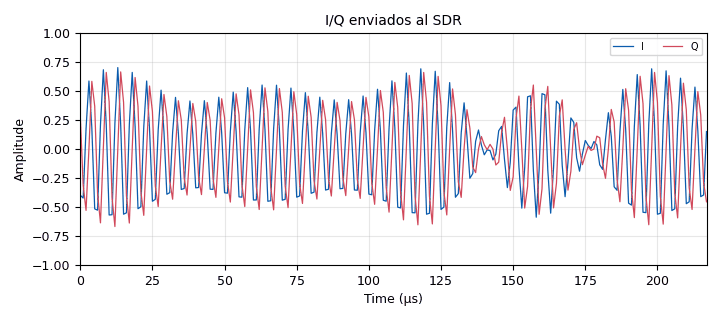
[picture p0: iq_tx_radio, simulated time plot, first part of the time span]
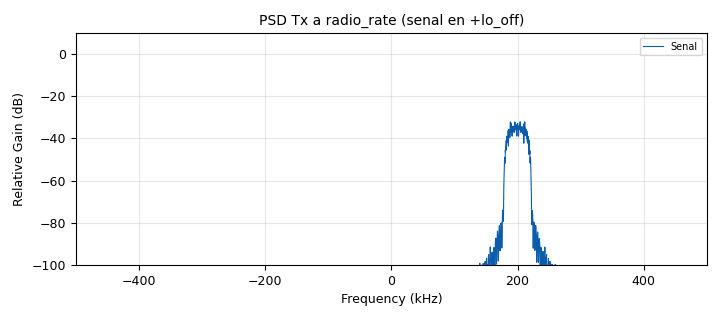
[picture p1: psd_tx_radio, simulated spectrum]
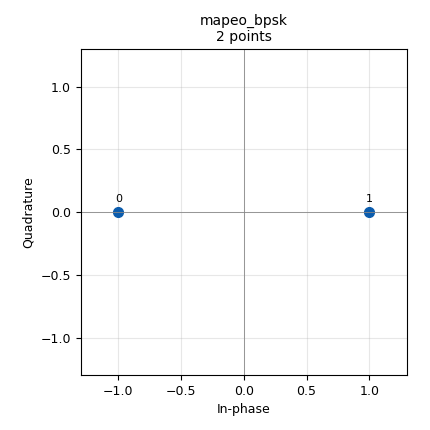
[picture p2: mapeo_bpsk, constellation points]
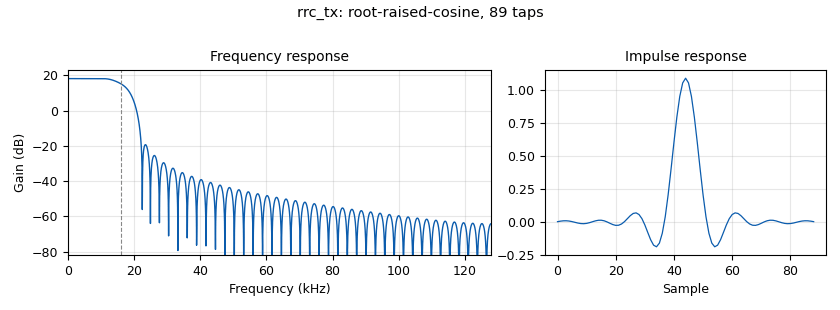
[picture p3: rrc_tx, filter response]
options:
  parameters:
    author: Grupo 1
    description: Transmisor del proyecto conectado a hardware SDR
    generate_options: qt_gui
    id: Fase3_USRP_TX_BPSK_Grupo1
    output_language: python
    title: 'Fase 3 - TX BPSK con USRP (UHD: USRP Sink) - Grupo 1'
  states: {}

blocks:
- name: M
  id: variable
  parameters:
    value: len(tabla_de_verdad_constelacion)
  states: {}
- name: Rb
  id: variable
  parameters:
    value: Rs*bps
  states: {}
- name: Rs
  id: variable
  parameters:
    value: '32000'
  states: {}
- name: Sps
  id: variable
  parameters:
    value: '8'
  states: {}
- name: adapta_tasa
  id: rational_resampler_xxx
  parameters:
    interp: interp
    decim: decim
    type: ccc
  states: {}
- name: beta
  id: variable
  parameters:
    value: '0.35'
  states: {}
- name: bps
  id: variable
  parameters:
    value: int(math.log(M,2))
  states: {}
- name: cod_diferencial
  id: digital_diff_encoder_bb
  parameters:
    modulus: '2'
    coding: digital.DIFF_DIFFERENTIAL
  states: {}
- name: const_bpsk
  id: variable_constellation
  parameters:
    const_points: tabla_de_verdad_constelacion
    dims: '1'
    normalization: digital.constellation.AMPLITUDE_NORMALIZATION
    precision: '8'
    rot_sym: '2'
    sym_map: '[0, 1]'
    type: calcdist
  states: {}
- name: decim
  id: variable
  parameters:
    value: '32'
  states: {}
- name: desplaza_lo
  id: freq_xlating_fir_filter_xxx
  parameters:
    center_freq: '-lo_off'
    decim: '1'
    samp_rate: radio_rate
    taps: '[1]'
    type: ccc
  states: {}
- name: fc
  id: variable
  parameters:
    value: 960e6
  states: {}
- name: fuente_bits
  id: digital_glfsr_source_x
  parameters:
    type: byte
    degree: '15'
    mask: '0'
    repeat: 'True'
    seed: '1'
  states: {}
- name: import_0
  id: import
  parameters:
    imports: import math
  states: {}
- name: interp
  id: variable
  parameters:
    value: '125'
  states: {}
- name: iq_tx_radio
  id: qtgui_time_sink_x
  parameters:
    grid: 'True'
    label1: I
    label2: Q
    name: '"I/Q enviados al SDR"'
    size: '2048'
    srate: radio_rate
    type: complex
  states: {}
- name: lo_off
  id: variable
  parameters:
    value: 200e3
  states: {}
- name: mapeo_bpsk
  id: digital_chunks_to_symbols_xx
  parameters:
    dimension: '1'
    in_type: byte
    out_type: complex
    symbol_table: tabla_de_verdad_constelacion
  states: {}
- name: periodo_imp
  id: variable
  parameters:
    value: '256'
  states: {}
- name: psd_tx_radio
  id: qtgui_freq_sink_x
  parameters:
    average: '0.2'
    bw: radio_rate
    fc: '0'
    fftsize: '4096'
    grid: 'True'
    label1: Senal
    name: '"PSD Tx a radio_rate (senal en +lo_off)"'
    type: complex
    ymin: '-100'
  states: {}
- name: radio_rate
  id: variable
  parameters:
    value: 1e6
  states: {}
- name: rrc_rx_taps
  id: variable
  parameters:
    value: '[t/sum(x*x for x in rrc_tx_taps) for t in rrc_tx_taps]'
  states: {}
- name: rrc_tx
  id: interp_fir_filter_xxx
  parameters:
    interp: Sps
    taps: rrc_tx_taps
    type: ccf
  states: {}
- name: rrc_tx_taps
  id: variable_rrc_filter_taps
  parameters:
    gain: Sps
    samp_rate: samp_rate
    sym_rate: Rs
    alpha: beta
    ntaps: span*Sps
  states: {}
- name: samp_rate
  id: variable
  parameters:
    value: Rs*Sps
  states: {}
- name: span
  id: variable
  parameters:
    value: '11'
  states: {}
- name: tabla_de_verdad_constelacion
  id: variable
  parameters:
    value: (-1+0j, 1+0j)
  states: {}
- name: tx_amp
  id: variable_qtgui_range
  parameters:
    label: Amplitud digital Tx (pico < 1)
    start: '0.01'
    step: '0.01'
    stop: '1.0'
    value: '0.5'
  states: {}
- name: tx_escala
  id: blocks_multiply_const_vxx
  parameters:
    const: tx_amp
    type: complex
  states: {}
- name: tx_gain
  id: variable_qtgui_range
  parameters:
    label: USRP TX gain [dB]
    start: '0'
    step: '1'
    stop: '60'
    value: '20'
  states: {}
- name: usrp_sink
  id: uhd_usrp_sink
  parameters:
    type: fc32
    otw: sc16
    dev_args: '""'
    sync: none
    samp_rate: radio_rate
    center_freq0: fc - lo_off
    gain0: tx_gain
    norm_gain0: 'False'
    ant0: '"TX/RX"'
    clock_source0: internal
  states: {}

connections:
- [fuente_bits, '0', cod_diferencial, '0']
- [cod_diferencial, '0', mapeo_bpsk, '0']
- [mapeo_bpsk, '0', rrc_tx, '0']
- [rrc_tx, '0', tx_escala, '0']
- [tx_escala, '0', adapta_tasa, '0']
- [adapta_tasa, '0', desplaza_lo, '0']
- [desplaza_lo, '0', usrp_sink, '0']
- [desplaza_lo, '0', psd_tx_radio, '0']
- [desplaza_lo, '0', iq_tx_radio, '0']

metadata:
  file_format: 1
  grc_version: 3.10.12.0
